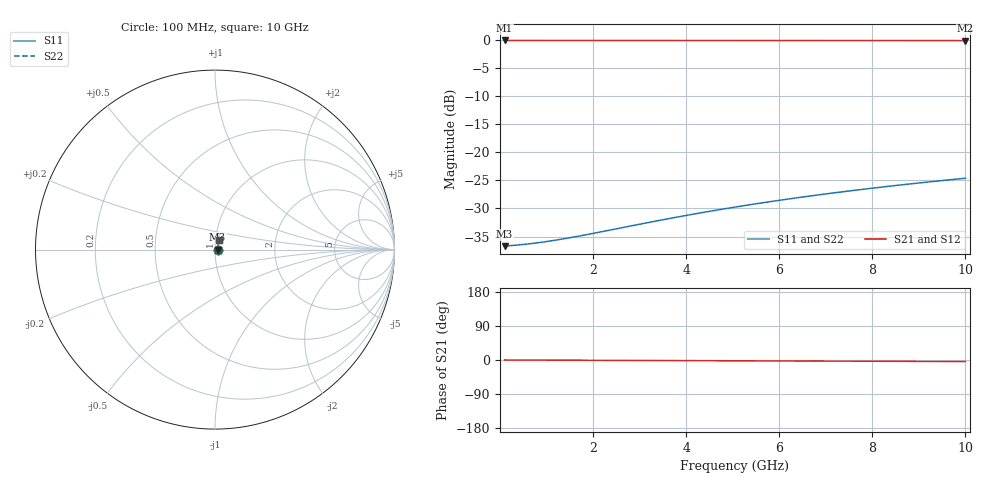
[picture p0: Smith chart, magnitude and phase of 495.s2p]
# Hz S RI R 50.00
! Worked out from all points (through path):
!   100 points, 100 MHz to 10 GHz, reference 50 ohm
!   highest |S21| = -0.13 dB at 100 MHz (marker M1); lowest = -0.2 dB at 10 GHz (marker M2)
!   lowest |S11| = -36.7 dB at 100 MHz (marker M3), VSWR 1.03, Z = 51.5 + j0.0572 ohm
!   |S11| at or under -10 dB: start of sweep to end of sweep
!   |S22| runs from -36.7 to -24.6 dB; largest |S21 - S12| = 0
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1e8  0.0146 0.000555  0.9854 -0.000705  0.9854 -0.000705  0.0146 0.000555
5e8  0.0149 0.00277  0.9851 -0.00353  0.9851 -0.00353  0.0149 0.00277
7e8  0.0149 0.00388  0.9851 -0.00493  0.9851 -0.00493  0.0149 0.00388
9e8  0.015 0.00499  0.985 -0.00634  0.985 -0.00634  0.015 0.00499
1.1e9  0.0151 0.0061  0.9849 -0.00775  0.9849 -0.00775  0.0151 0.0061
1.3e9  0.0152 0.00721  0.9848 -0.00916  0.9848 -0.00916  0.0152 0.00721
1.5e9  0.0152 0.00832  0.9848 -0.0106  0.9848 -0.0106  0.0152 0.00832
1.8e9  0.0153 0.00998  0.9847 -0.0127  0.9847 -0.0127  0.0153 0.00998
3.4e9  0.0158 0.0188  0.9841 -0.0239  0.9841 -0.0239  0.0158 0.0188
3.9e9  0.016 0.0216  0.9839 -0.0275  0.9839 -0.0275  0.016 0.0216
4.3e9  0.0162 0.0238  0.9838 -0.0303  0.9838 -0.0303  0.0162 0.0238
4.7e9  0.0164 0.026  0.9836 -0.0331  0.9836 -0.0331  0.0164 0.026
5.1e9  0.0166 0.0282  0.9834 -0.0359  0.9834 -0.0359  0.0166 0.0282
5.5e9  0.0167 0.0304  0.9832 -0.0387  0.9832 -0.0387  0.0167 0.0304
5.9e9  0.017 0.0327  0.983 -0.0415  0.983 -0.0415  0.017 0.0327
6.3e9  0.0172 0.0349  0.9828 -0.0443  0.9828 -0.0443  0.0172 0.0349
6.7e9  0.0174 0.0371  0.9825 -0.0471  0.9825 -0.0471  0.0174 0.0371
7.5e9  0.0179 0.0415  0.982 -0.0527  0.982 -0.0527  0.0179 0.0415
7.9e9  0.0182 0.0437  0.9818 -0.0556  0.9818 -0.0556  0.0182 0.0437
8.4e9  0.0185 0.0464  0.9814 -0.0591  0.9814 -0.0591  0.0185 0.0464
9.2e9  0.0191 0.0508  0.9808 -0.0647  0.9808 -0.0647  0.0191 0.0508
1e10  0.0198 0.0552  0.9801 -0.0703  0.9801 -0.0703  0.0198 0.0552
